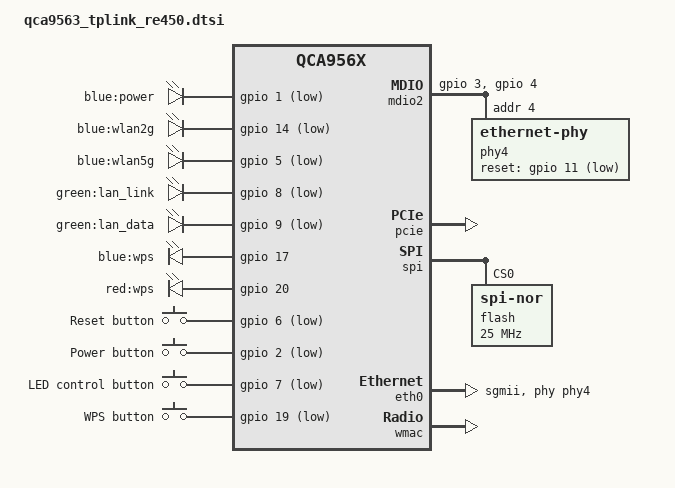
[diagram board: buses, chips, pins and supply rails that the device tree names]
// SPDX-License-Identifier: GPL-2.0-or-later OR MIT

#include "qca956x.dtsi"

#include <dt-bindings/gpio/gpio.h>
#include <dt-bindings/input/input.h>

/ {
	aliases {
		label-mac-device = &eth0;
		led-boot = &led_power;
		led-failsafe = &led_power;
		led-running = &led_power;
		led-upgrade = &led_power;
		mdio-gpio0 = &mdio2;
	};

	leds {
		compatible = "gpio-leds";

		led_power: power {
			label = "blue:power";
			gpios = <&gpio 1 GPIO_ACTIVE_LOW>;
		};

		wlan2g {
			label = "blue:wlan2g";
			gpios = <&gpio 14 GPIO_ACTIVE_LOW>;
			linux,default-trigger = "phy1tpt";
		};

		wlan5g {
			label = "blue:wlan5g";
			gpios = <&gpio 5 GPIO_ACTIVE_LOW>;
			linux,default-trigger = "phy0tpt";
		};

		lan_link {
			label = "green:lan_link";
			gpios = <&gpio 8 GPIO_ACTIVE_LOW>;
		};

		lan_data {
			label = "green:lan_data";
			gpios = <&gpio 9 GPIO_ACTIVE_LOW>;
		};

		wps_blue {
			label = "blue:wps";
			gpios = <&gpio 17 GPIO_ACTIVE_HIGH>;
		};

		wps_red {
			label = "red:wps";
			gpios = <&gpio 20 GPIO_ACTIVE_HIGH>;
		};
	};

	keys {
		compatible = "gpio-keys";

		reset {
			label = "Reset button";
			linux,code = <KEY_RESTART>;
			gpios = <&gpio 6 GPIO_ACTIVE_LOW>;
			debounce-interval = <60>;
		};

		power {
			label = "Power button";
			linux,code = <KEY_POWER>;
			gpios = <&gpio 2 GPIO_ACTIVE_LOW>;
			debounce-interval = <60>;
		};

		leds {
			label = "LED control button";
			linux,code = <BTN_0>;
			gpios = <&gpio 7 GPIO_ACTIVE_LOW>;
			debounce-interval = <60>;
		};

		wps {
			label = "WPS button";
			linux,code = <KEY_WPS_BUTTON>;
			gpios = <&gpio 19 GPIO_ACTIVE_LOW>;
			debounce-interval = <60>;
		};
	};

	mdio2: mdio {
		compatible = "virtual,mdio-gpio";

		gpios = <&gpio 3 GPIO_ACTIVE_HIGH>, /* MDC */
			<&gpio 4 GPIO_ACTIVE_HIGH>; /* MDIO */
		#address-cells = <1>;
		#size-cells = <0>;

		phy4: ethernet-phy@4 {
			reg = <4>;
			device_type = "ethernet-phy";
			reset-gpios = <&gpio 11 GPIO_ACTIVE_LOW>;
		};
	};
};

&pcie {
	status = "okay";
};

&spi {
	status = "okay";

	flash@0 {
		compatible = "jedec,spi-nor";
		reg = <0>;
		spi-max-frequency = <25000000>;

		partitions: partitions {
			compatible = "fixed-partitions";
			#address-cells = <1>;
			#size-cells = <1>;
		};
	};
};

&eth0 {
	status = "okay";

	phy-mode = "sgmii";
	phy-handle = <&phy4>;

	mtd-mac-address = <&info 0x8>;
};

&wmac {
	status = "okay";

	mtd-cal-data = <&art 0x1000>;
	mtd-mac-address = <&info 0x8>;
};
